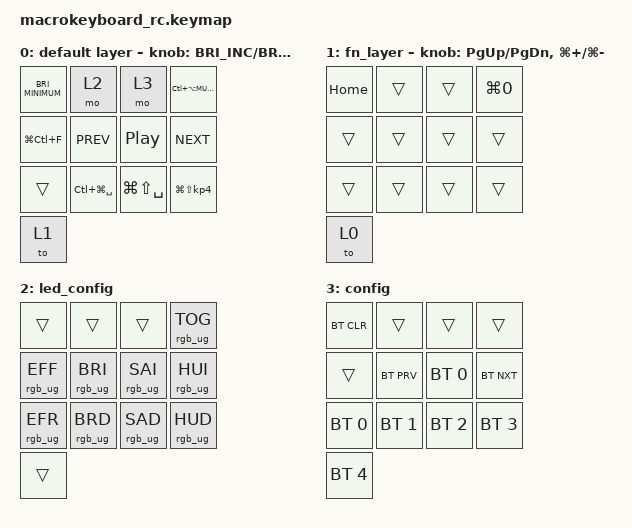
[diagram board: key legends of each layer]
/*
 * Copyright (c) 2021 The ZMK Contributors
 *
 * SPDX-License-Identifier: MIT
 */

#include <behaviors.dtsi>
#include <dt-bindings/zmk/bt.h>
#include <dt-bindings/zmk/keys.h>
#include <dt-bindings/zmk/rgb.h>

#define TIMEOUT 300

&encoder_1 {
    status = "okay";
};

&encoder_2 {
    status = "okay";
};

/ {
    combos {
        compatible = "zmk,combos";

        combo_btclr {
            timeout-ms = <TIMEOUT>;
            key-positions = <1 0>;
            bindings = <&bt BT_CLR>;
        };

        combo_reset {
            timeout-ms = <TIMEOUT>;
            key-positions = <3 2>;
            bindings = <&sys_reset>;
        };

        combo_bootloader {
            timeout-ms = <TIMEOUT>;
            key-positions = <0 3>;
            bindings = <&bootloader>;
        };

        sleep {
            bindings = <&kp LG(LA(K_EJECT))>;
            key-positions = <1 2>;
        };

        lock {
            bindings = <&kp LG(LC(Q))>;
            key-positions = <5 6>;
        };
    };

    behaviors {
        /* DEPRECATED: `inc_dec_cp` will be removed in the future */
    };

    sensors {
        compatible = "zmk,keymap-sensors";
        sensors = <&encoder_1 &encoder_2>;
    };

    keymap0: keymap {
        compatible = "zmk,keymap";

        default_layer {
            label = "default layer";
            bindings = <
&kp C_BRIGHTNESS_MINIMUM  &mo 2              &mo 3              &kp LC(LA(C_MUTE))
&kp LG(LC(F))             &kp C_PREV         &kp C_PLAY_PAUSE   &kp C_NEXT
&trans                    &kp LC(LG(SPACE))  &kp LG(LS(SPACE))  &kp LG(LS(KP_N4))
&to 1
            >;

            sensor-bindings =
                <&inc_dec_kp C_BRIGHTNESS_INC C_BRIGHTNESS_DEC>,
                <&inc_dec_kp C_VOL_UP C_VOL_DN>;
        };

        fn_layer {
            bindings = <
&kp HOME  &trans  &trans  &kp LG(N0)
&trans    &trans  &trans  &trans
&trans    &trans  &trans  &trans
&to 0
            >;

            sensor-bindings =
                <&inc_dec_kp PG_UP PG_DN>,
                <&inc_dec_kp LG(PLUS) LG(MINUS)>;
        };

        led_config {
            bindings = <
&trans           &trans           &trans           &rgb_ug RGB_TOG
&rgb_ug RGB_EFF  &rgb_ug RGB_BRI  &rgb_ug RGB_SAI  &rgb_ug RGB_HUI
&rgb_ug RGB_EFR  &rgb_ug RGB_BRD  &rgb_ug RGB_SAD  &rgb_ug RGB_HUD
&trans
            >;
        };

        config {
            bindings = <
&bt BT_CLR    &trans        &trans        &trans
&trans        &bt BT_PRV    &bt BT_SEL 0  &bt BT_NXT
&bt BT_SEL 0  &bt BT_SEL 1  &bt BT_SEL 2  &bt BT_SEL 3
&bt BT_SEL 4
            >;
        };
    };
};
